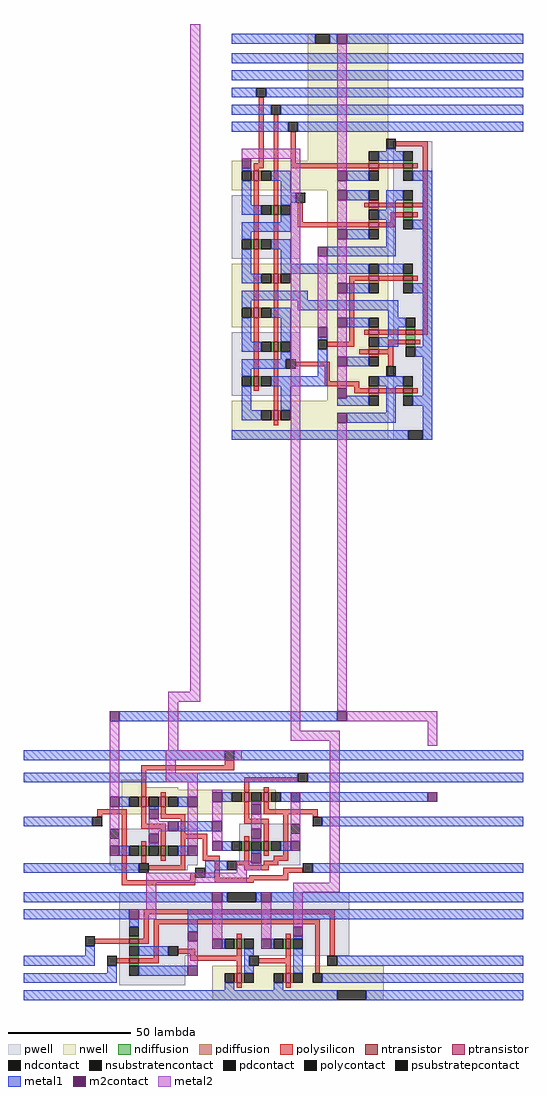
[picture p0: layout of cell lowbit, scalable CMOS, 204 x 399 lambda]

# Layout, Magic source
magic
tech scmos
<< metal1 >>
rect 145 87 182 91
rect 145 79 182 83
rect 145 72 182 76
rect 145 65 182 69
rect 145 58 182 62
rect 145 51 182 55
rect 17 -190 106 -186
rect 87 -223 143 -219
rect -22 -264 -18 -260
rect 145 -264 182 -260
rect -22 -271 -18 -267
rect 145 -271 182 -267
rect -22 -290 -18 -286
rect 145 -290 182 -286
rect -22 -297 -18 -293
rect 145 -297 182 -293
rect -22 -304 -18 -300
rect 145 -304 182 -300
<< metal2 >>
rect 46 -178 50 95
rect 37 -182 50 -178
rect 13 -207 17 -190
rect 37 -205 41 -182
rect 87 -194 91 -75
rect 106 -186 110 -70
rect 110 -190 147 -186
rect 87 -198 107 -194
rect 103 -256 107 -198
rect 143 -200 147 -190
rect 88 -260 107 -256
<< m2contact >>
rect 13 -190 17 -186
rect 106 -190 110 -186
rect 143 -223 147 -219
use rr1  rr1_0
transform 1 0 176 0 1 101
box -113 -176 -31 -10
use mux1  mux1_0
transform 1 0 118 0 1 -233
box -140 -31 64 31
use shift1  shift1_0
transform 1 0 0 0 1 -108
box -18 -196 146 -152
<< end >>

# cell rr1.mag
magic
tech scmos
<< pwell >>
rect -113 -102 -85 -76
rect -113 -158 -85 -132
rect -47 -176 -31 -54
<< nwell >>
rect -82 -62 -49 -10
rect -113 -74 -49 -62
rect -74 -104 -49 -74
rect -113 -130 -49 -104
rect -74 -160 -49 -130
rect -113 -176 -49 -160
<< polysilicon >>
rect -102 -63 -100 -36
rect -104 -65 -100 -63
rect -104 -66 -102 -65
rect -104 -94 -102 -70
rect -96 -80 -94 -43
rect -89 -63 -87 -50
rect -46 -56 -33 -54
rect -89 -65 -57 -63
rect -53 -65 -43 -63
rect -39 -65 -37 -63
rect -35 -79 -33 -56
rect -104 -122 -102 -98
rect -96 -108 -94 -84
rect -86 -87 -84 -79
rect -59 -81 -57 -79
rect -53 -81 -43 -79
rect -39 -81 -33 -79
rect -48 -85 -43 -83
rect -39 -85 -37 -83
rect -48 -87 -46 -85
rect -86 -89 -57 -87
rect -53 -89 -46 -87
rect -65 -111 -57 -109
rect -53 -111 -43 -109
rect -39 -111 -37 -109
rect -104 -150 -102 -126
rect -96 -136 -94 -112
rect -65 -136 -63 -111
rect -35 -131 -33 -81
rect -59 -133 -57 -131
rect -53 -133 -42 -131
rect -38 -133 -33 -131
rect -74 -138 -63 -136
rect -49 -137 -42 -135
rect -38 -137 -36 -135
rect -49 -139 -47 -137
rect -104 -156 -102 -154
rect -96 -164 -94 -140
rect -61 -141 -57 -139
rect -53 -141 -47 -139
rect -87 -146 -73 -144
rect -49 -146 -47 -141
rect -75 -152 -73 -146
rect -75 -154 -61 -152
rect -63 -155 -61 -154
rect -63 -157 -57 -155
rect -53 -157 -43 -155
rect -39 -157 -37 -155
rect -96 -170 -94 -168
<< ndiffusion >>
rect -43 -63 -39 -62
rect -43 -66 -39 -65
rect -43 -79 -39 -78
rect -97 -84 -96 -80
rect -94 -84 -93 -80
rect -105 -98 -104 -94
rect -102 -98 -101 -94
rect -43 -83 -39 -81
rect -43 -86 -39 -85
rect -43 -109 -39 -108
rect -97 -140 -96 -136
rect -94 -140 -93 -136
rect -43 -112 -39 -111
rect -42 -131 -38 -130
rect -42 -135 -38 -133
rect -105 -154 -104 -150
rect -102 -154 -101 -150
rect -42 -138 -38 -137
rect -43 -155 -39 -154
rect -43 -158 -39 -157
<< pdiffusion >>
rect -105 -70 -104 -66
rect -102 -70 -101 -66
rect -57 -63 -53 -62
rect -57 -66 -53 -65
rect -57 -79 -53 -78
rect -57 -82 -53 -81
rect -57 -87 -53 -86
rect -57 -90 -53 -89
rect -97 -112 -96 -108
rect -94 -112 -93 -108
rect -57 -109 -53 -108
rect -105 -126 -104 -122
rect -102 -126 -101 -122
rect -57 -112 -53 -111
rect -57 -131 -53 -130
rect -57 -134 -53 -133
rect -57 -139 -53 -138
rect -57 -142 -53 -141
rect -57 -155 -53 -154
rect -57 -158 -53 -157
rect -97 -168 -96 -164
rect -94 -168 -93 -164
<< metal1 >>
rect -113 -14 -79 -10
rect -73 -14 -70 -10
rect -66 -14 -31 -10
rect -113 -22 -31 -18
rect -113 -29 -31 -25
rect -113 -36 -103 -32
rect -99 -36 -31 -32
rect -113 -43 -97 -39
rect -93 -43 -31 -39
rect -113 -50 -90 -46
rect -86 -50 -31 -46
rect -50 -58 -46 -57
rect -53 -62 -43 -58
rect -109 -66 -105 -65
rect -97 -70 -89 -66
rect -66 -70 -57 -66
rect -39 -70 -31 -66
rect -109 -80 -105 -70
rect -93 -75 -89 -70
rect -93 -79 -87 -75
rect -66 -78 -57 -74
rect -50 -78 -43 -74
rect -93 -80 -89 -79
rect -109 -84 -101 -80
rect -50 -82 -46 -78
rect -93 -87 -89 -84
rect -53 -86 -46 -82
rect -35 -86 -31 -70
rect -109 -91 -89 -87
rect -109 -94 -105 -91
rect -66 -94 -57 -90
rect -97 -98 -89 -94
rect -50 -97 -46 -86
rect -39 -90 -31 -86
rect -109 -108 -105 -98
rect -93 -104 -89 -98
rect -74 -101 -46 -97
rect -93 -108 -57 -104
rect -53 -108 -43 -104
rect -109 -112 -101 -108
rect -35 -112 -31 -90
rect -109 -119 -82 -115
rect -66 -116 -57 -112
rect -39 -116 -31 -112
rect -109 -122 -105 -119
rect -97 -126 -89 -122
rect -86 -123 -45 -119
rect -49 -126 -45 -123
rect -109 -136 -105 -126
rect -93 -136 -89 -126
rect -66 -130 -57 -126
rect -49 -130 -42 -126
rect -109 -140 -101 -136
rect -93 -143 -89 -140
rect -49 -134 -45 -130
rect -78 -135 -74 -134
rect -53 -138 -45 -134
rect -35 -138 -31 -116
rect -109 -147 -91 -143
rect -109 -150 -105 -147
rect -78 -150 -74 -139
rect -38 -142 -31 -138
rect -66 -146 -57 -142
rect -97 -154 -74 -150
rect -53 -154 -43 -150
rect -109 -164 -105 -154
rect -93 -164 -89 -154
rect -66 -159 -57 -158
rect -70 -162 -57 -159
rect -109 -168 -101 -164
rect -50 -165 -46 -154
rect -35 -158 -31 -142
rect -39 -162 -31 -158
rect -66 -169 -46 -165
rect -113 -176 -41 -172
rect -35 -176 -31 -162
<< metal2 >>
rect -109 -61 -85 -57
rect -89 -176 -85 -61
rect -70 -66 -66 -14
rect -70 -74 -66 -70
rect -70 -90 -66 -78
rect -78 -130 -74 -101
rect -70 -112 -66 -94
rect -70 -126 -66 -116
rect -70 -142 -66 -130
rect -70 -155 -66 -146
rect -70 -176 -66 -169
<< ntransistor >>
rect -43 -65 -39 -63
rect -96 -84 -94 -80
rect -104 -98 -102 -94
rect -43 -81 -39 -79
rect -43 -85 -39 -83
rect -43 -111 -39 -109
rect -96 -140 -94 -136
rect -42 -133 -38 -131
rect -42 -137 -38 -135
rect -104 -154 -102 -150
rect -43 -157 -39 -155
<< ptransistor >>
rect -104 -70 -102 -66
rect -57 -65 -53 -63
rect -57 -81 -53 -79
rect -57 -89 -53 -87
rect -96 -112 -94 -108
rect -57 -111 -53 -109
rect -104 -126 -102 -122
rect -57 -133 -53 -131
rect -57 -141 -53 -139
rect -57 -157 -53 -155
rect -96 -168 -94 -164
<< polycontact >>
rect -103 -36 -99 -32
rect -97 -43 -93 -39
rect -90 -50 -86 -46
rect -50 -57 -46 -53
rect -87 -79 -83 -75
rect -78 -139 -74 -135
rect -91 -147 -87 -143
rect -50 -150 -46 -146
<< ndcontact >>
rect -43 -62 -39 -58
rect -43 -70 -39 -66
rect -43 -78 -39 -74
rect -101 -84 -97 -80
rect -93 -84 -89 -80
rect -109 -98 -105 -94
rect -101 -98 -97 -94
rect -43 -90 -39 -86
rect -43 -108 -39 -104
rect -101 -140 -97 -136
rect -93 -140 -89 -136
rect -43 -116 -39 -112
rect -42 -130 -38 -126
rect -109 -154 -105 -150
rect -101 -154 -97 -150
rect -42 -142 -38 -138
rect -43 -154 -39 -150
rect -43 -162 -39 -158
<< pdcontact >>
rect -109 -70 -105 -66
rect -101 -70 -97 -66
rect -57 -62 -53 -58
rect -57 -70 -53 -66
rect -57 -78 -53 -74
rect -57 -86 -53 -82
rect -57 -94 -53 -90
rect -57 -108 -53 -104
rect -101 -112 -97 -108
rect -93 -112 -89 -108
rect -109 -126 -105 -122
rect -101 -126 -97 -122
rect -57 -116 -53 -112
rect -57 -130 -53 -126
rect -57 -138 -53 -134
rect -57 -146 -53 -142
rect -57 -154 -53 -150
rect -57 -162 -53 -158
rect -101 -168 -97 -164
rect -93 -168 -89 -164
<< m2contact >>
rect -70 -14 -66 -10
rect -109 -65 -105 -61
rect -70 -70 -66 -66
rect -70 -78 -66 -74
rect -70 -94 -66 -90
rect -78 -101 -74 -97
rect -70 -116 -66 -112
rect -70 -130 -66 -126
rect -78 -134 -74 -130
rect -70 -146 -66 -142
rect -70 -159 -66 -155
rect -70 -169 -66 -165
<< psubstratepcontact >>
rect -41 -176 -35 -172
<< nsubstratencontact >>
rect -79 -14 -73 -10
<< labels >>
rlabel metal2 -68 -174 -68 -174 1 Q
rlabel metal2 -87 -174 -87 -174 1 D
<< end >>

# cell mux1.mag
magic
tech scmos
<< pwell >>
rect -105 -16 -69 -1
rect -52 -16 -27 1
rect -103 -18 -73 -16
<< nwell >>
rect -100 16 -90 19
rect -100 15 -77 16
rect -100 5 -37 15
<< polysilicon >>
rect -58 25 -54 27
rect -92 23 -54 25
rect -92 12 -90 23
rect -50 18 -28 20
rect -50 14 -48 18
rect -42 14 -40 16
rect -84 12 -82 14
rect -110 5 -98 7
rect -110 4 -108 5
rect -100 -22 -98 5
rect -92 1 -90 8
rect -84 5 -82 8
rect -84 3 -74 5
rect -92 -1 -82 1
rect -92 -8 -90 -6
rect -84 -8 -82 -1
rect -76 -3 -74 3
rect -50 3 -48 10
rect -42 7 -40 10
rect -42 5 -20 7
rect -50 1 -40 3
rect -76 -5 -65 -3
rect -92 -15 -90 -12
rect -84 -14 -82 -12
rect -76 -16 -74 -5
rect -67 -12 -65 -5
rect -50 -6 -48 -4
rect -42 -6 -40 1
rect -67 -14 -60 -12
rect -50 -14 -48 -10
rect -42 -12 -40 -10
rect -34 -12 -32 5
rect -22 4 -20 5
rect -38 -14 -32 -12
rect -89 -18 -74 -16
rect -72 -22 -70 -19
rect -62 -21 -60 -14
rect -53 -16 -48 -14
rect -42 -16 -36 -14
rect -50 -18 -40 -16
rect -34 -19 -26 -17
rect -34 -20 -32 -19
rect -48 -21 -32 -20
rect -100 -24 -70 -22
rect -62 -22 -32 -21
rect -62 -23 -46 -22
<< ndiffusion >>
rect -93 -12 -92 -8
rect -90 -12 -89 -8
rect -85 -12 -84 -8
rect -82 -12 -81 -8
rect -51 -10 -50 -6
rect -48 -10 -47 -6
rect -43 -10 -42 -6
rect -40 -10 -39 -6
<< pdiffusion >>
rect -93 8 -92 12
rect -90 8 -89 12
rect -85 8 -84 12
rect -82 8 -81 12
rect -51 10 -50 14
rect -48 10 -47 14
rect -43 10 -42 14
rect -40 10 -39 14
<< metal1 >>
rect -140 27 -58 31
rect -54 27 64 31
rect -140 18 -28 22
rect -24 18 64 22
rect -101 8 -97 12
rect -77 8 -73 12
rect -59 10 -55 14
rect -35 10 -31 14
rect -47 9 -43 10
rect -89 7 -85 8
rect -140 0 -112 4
rect -77 -2 -63 2
rect -18 0 64 4
rect -47 -6 -43 -5
rect -89 -8 -85 -7
rect -101 -12 -97 -8
rect -77 -12 -73 -8
rect -59 -10 -55 -6
rect -35 -10 -31 -6
rect -47 -11 -43 -10
rect -140 -19 -93 -15
rect -66 -18 -57 -14
rect -66 -21 -62 -18
rect -22 -19 64 -15
<< metal2 >>
rect -82 27 -51 31
rect -105 12 -101 26
rect -82 22 -78 27
rect -82 18 -69 22
rect -105 -8 -101 8
rect -73 12 -69 18
rect -89 2 -85 3
rect -89 -2 -81 2
rect -89 -3 -85 -2
rect -89 -8 -85 -7
rect -73 -8 -69 8
rect -63 14 -59 15
rect -63 2 -59 10
rect -63 -6 -59 -2
rect -47 9 -43 10
rect -47 -1 -43 5
rect -47 -6 -43 -5
rect -31 -6 -27 10
rect -53 -15 -47 -14
rect -53 -18 -43 -15
rect -53 -19 -49 -18
rect -90 -23 -49 -19
rect -90 -27 -86 -23
<< ntransistor >>
rect -92 -12 -90 -8
rect -84 -12 -82 -8
rect -50 -10 -48 -6
rect -42 -10 -40 -6
<< ptransistor >>
rect -92 8 -90 12
rect -84 8 -82 12
rect -50 10 -48 14
rect -42 10 -40 14
<< polycontact >>
rect -58 27 -54 31
rect -28 18 -24 22
rect -112 0 -108 4
rect -93 -19 -89 -15
rect -22 0 -18 4
rect -70 -21 -66 -17
rect -57 -18 -53 -14
rect -26 -19 -22 -15
<< ndcontact >>
rect -97 -12 -93 -8
rect -89 -12 -85 -8
rect -81 -12 -77 -8
rect -55 -10 -51 -6
rect -47 -10 -43 -6
rect -39 -10 -35 -6
<< pdcontact >>
rect -97 8 -93 12
rect -89 8 -85 12
rect -81 8 -77 12
rect -55 10 -51 14
rect -47 10 -43 14
rect -39 10 -35 14
<< m2contact >>
rect -105 8 -101 12
rect -73 8 -69 12
rect -63 10 -59 14
rect -31 10 -27 14
rect -89 3 -85 7
rect -47 5 -43 9
rect -81 -2 -77 2
rect -63 -2 -59 2
rect -89 -7 -85 -3
rect -47 -5 -43 -1
rect -105 -12 -101 -8
rect -73 -12 -69 -8
rect -63 -10 -59 -6
rect -31 -10 -27 -6
rect -47 -15 -43 -11
<< psubstratepcontact >>
rect -105 -5 -101 -1
rect -31 -3 -27 1
<< end >>

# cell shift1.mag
magic
tech scmos
<< pwell >>
rect 17 -178 111 -152
rect 17 -190 44 -178
<< nwell >>
rect 55 -196 125 -182
<< polysilicon >>
rect 27 -161 105 -159
rect 27 -171 29 -161
rect 7 -173 21 -171
rect 25 -173 29 -171
rect 31 -165 99 -163
rect 31 -179 33 -165
rect 65 -171 67 -169
rect 85 -171 87 -169
rect 41 -177 48 -175
rect 46 -178 48 -177
rect 65 -178 67 -175
rect 16 -181 21 -179
rect 25 -181 33 -179
rect 46 -180 67 -178
rect 65 -185 67 -180
rect 85 -179 87 -175
rect 74 -181 87 -179
rect 85 -185 87 -181
rect 97 -185 99 -165
rect 103 -178 105 -161
rect 65 -191 67 -189
rect 85 -191 87 -189
<< ndiffusion >>
rect 21 -171 25 -170
rect 21 -174 25 -173
rect 21 -179 25 -178
rect 64 -175 65 -171
rect 67 -175 68 -171
rect 84 -175 85 -171
rect 87 -175 88 -171
rect 21 -182 25 -181
<< pdiffusion >>
rect 64 -189 65 -185
rect 67 -189 68 -185
rect 84 -189 85 -185
rect 87 -189 88 -185
<< metal1 >>
rect -18 -156 55 -152
rect 59 -156 61 -152
rect 73 -156 75 -152
rect 79 -156 146 -152
rect -18 -163 21 -159
rect 21 -166 25 -163
rect 45 -163 146 -159
rect 45 -168 49 -163
rect 88 -171 92 -170
rect 3 -178 7 -174
rect 25 -178 37 -174
rect 59 -175 60 -171
rect 79 -175 80 -171
rect 68 -178 72 -175
rect -18 -182 7 -178
rect 68 -182 70 -178
rect 12 -185 16 -182
rect -18 -189 16 -185
rect 25 -186 45 -182
rect 68 -185 72 -182
rect 88 -185 92 -175
rect 106 -182 146 -178
rect 100 -189 146 -185
rect 60 -192 64 -189
rect 80 -192 84 -189
rect -18 -196 106 -192
rect 118 -196 146 -192
<< metal2 >>
rect 28 -159 32 -152
rect 25 -163 32 -159
rect 45 -182 49 -172
rect 55 -171 59 -156
rect 75 -171 79 -156
rect 88 -166 92 -152
<< ntransistor >>
rect 21 -173 25 -171
rect 65 -175 67 -171
rect 85 -175 87 -171
rect 21 -181 25 -179
<< ptransistor >>
rect 65 -189 67 -185
rect 85 -189 87 -185
<< polycontact >>
rect 3 -174 7 -170
rect 12 -182 16 -178
rect 37 -178 41 -174
rect 70 -182 74 -178
rect 102 -182 106 -178
rect 96 -189 100 -185
<< ndcontact >>
rect 21 -170 25 -166
rect 21 -178 25 -174
rect 60 -175 64 -171
rect 68 -175 72 -171
rect 80 -175 84 -171
rect 88 -175 92 -171
rect 21 -186 25 -182
<< pdcontact >>
rect 60 -189 64 -185
rect 68 -189 72 -185
rect 80 -189 84 -185
rect 88 -189 92 -185
<< m2contact >>
rect 55 -156 59 -152
rect 75 -156 79 -152
rect 21 -163 25 -159
rect 45 -172 49 -168
rect 88 -170 92 -166
rect 55 -175 59 -171
rect 75 -175 79 -171
rect 45 -186 49 -182
<< psubstratepcontact >>
rect 61 -156 73 -152
<< nsubstratencontact >>
rect 106 -196 118 -192
<< labels >>
rlabel metal1 144 -194 144 -194 8 Vdd
rlabel metal1 144 -187 144 -187 7 Shift
rlabel metal1 144 -154 144 -154 6 GND
rlabel metal2 90 -154 90 -154 5 OUT0
rlabel metal2 30 -154 30 -154 5 IN0
rlabel metal1 144 -180 144 -180 7 ShiftB
rlabel metal1 144 -161 144 -161 7 IN1
<< end >>
